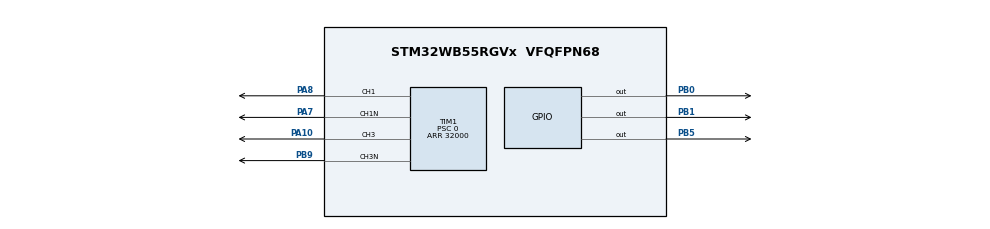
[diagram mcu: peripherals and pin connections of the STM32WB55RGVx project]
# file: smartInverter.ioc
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Mcu.Family=STM32WB
Mcu.Name=STM32WB55RGVx
Mcu.Package=VFQFPN68
NVIC.PriorityGroup=NVIC_PRIORITYGROUP_4
NVIC.TIM1_UP_TIM16_IRQn=true\:0\:0\:false\:false\:true\:true\:true\:true
OSC_IN.Mode=HSE-External-Oscillator
OSC_IN.Signal=RCC_OSC_IN
OSC_OUT.Mode=HSE-External-Oscillator
OSC_OUT.Signal=RCC_OSC_OUT
PA10.Signal=S_TIM1_CH3
PA7.Mode=PWM Generation1 CH1 CH1N
PA7.Signal=TIM1_CH1N
PA8.Signal=S_TIM1_CH1
PB0.Signal=GPIO_Output
PB1.Signal=GPIO_Output
PB5.Signal=GPIO_Output
PB9.Mode=PWM Generation3 CH3 CH3N
PB9.Signal=TIM1_CH3N
PC14-OSC32_IN.Mode=LSE-External-Oscillator
PC14-OSC32_IN.Signal=RCC_OSC32_IN
PC15-OSC32_OUT.Mode=LSE-External-Oscillator
PC15-OSC32_OUT.Signal=RCC_OSC32_OUT
ProjectManager.HeapSize=0x200
ProjectManager.StackSize=0x400
ProjectManager.TargetToolchain=STM32CubeIDE
RCC.ADCFreq_Value=48000000
RCC.AHBFreq_Value=32000000
RCC.APB1Freq_Value=32000000
RCC.APB1TimFreq_Value=32000000
RCC.APB2Freq_Value=32000000
RCC.APB2TimFreq_Value=32000000
RCC.APB3Freq_Value=16000000
RCC.CortexFreq_Value=32000000
RCC.HCLKFreq_Value=32000000
RCC.HSE_VALUE=32000000
RCC.HSI48_VALUE=48000000
RCC.HSI_VALUE=16000000
RCC.MSIClockRange=RCC_MSIRANGE_10
RCC.PLLM=RCC_PLLM_DIV2
RCC.PLLSAI1N=6
RCC.SYSCLKFreq_VALUE=32000000
RCC.USBFreq_Value=48000000
RCC.VCOOutputFreq_Value=128000000
SH.S_TIM1_CH1.0=TIM1_CH1,PWM Generation1 CH1 CH1N
SH.S_TIM1_CH3.0=TIM1_CH3,PWM Generation3 CH3 CH3N
TIM1.AutoReloadPreload=TIM_AUTORELOAD_PRELOAD_ENABLE
TIM1.Channel-Output\ Compare2\ No\ Output=TIM_CHANNEL_2
TIM1.Channel-Output\ Compare4\ No\ Output=TIM_CHANNEL_4
TIM1.Channel-PWM\ Generation1\ CH1\ CH1N=TIM_CHANNEL_1
TIM1.Channel-PWM\ Generation3\ CH3\ CH3N=TIM_CHANNEL_3
TIM1.CounterMode=TIM_COUNTERMODE_UP
TIM1.DeadTime=100
TIM1.OCMode_PWM-PWM\ Generation1\ CH1\ CH1N=TIM_OCMODE_ASSYMETRIC_PWM1
TIM1.OCMode_PWM-PWM\ Generation3\ CH3\ CH3N=TIM_OCMODE_ASSYMETRIC_PWM1
TIM1.Period=32000
TIM1.Prescaler=0
TIM1.Pulse-PWM\ Generation1\ CH1\ CH1N=0
VP_TIM1_VS_ClockSourceINT.Mode=Internal
VP_TIM1_VS_no_output2.Mode=Output Compare2 No Output
VP_TIM1_VS_no_output4.Mode=Output Compare4 No Output
board=custom

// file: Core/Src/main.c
/* USER CODE BEGIN Header */
/**
  ******************************************************************************
  * @file           : main.c
  * @brief          : Main program body
  ******************************************************************************
  * @attention
  *
  * Copyright (c) 2022 STMicroelectronics.
  * All rights reserved.
  *
  * This software is licensed under terms that can be found in the LICENSE file
  * in the root directory of this software component.
  * If no LICENSE file comes with this software, it is provided AS-IS.
  *
  ******************************************************************************
  */
/* USER CODE END Header */
#include "main.h"

/* USER CODE BEGIN Includes */
#include "stdbool.h"
/* USER CODE END Includes */

 TIM_HandleTypeDef htim1;

/* USER CODE BEGIN PV */
bool toggle = true;
int count = 0;
/* USER CODE END PV */

void SystemClock_Config(void);
void PeriphCommonClock_Config(void);
static void MX_GPIO_Init(void);
static void MX_TIM1_Init(void);

/* USER CODE BEGIN 0 */
/*

*/
int sinedata[] = {17000, 18792, 21268, 22342, 24762, 25331, 27312, 27495, 28609, 28672,
				28672, 28609, 27495, 27217, 25331, 24762, 22342, 21268, 18792, 17004,
				14996, 12817, 11288, 8973, 7997, 5886, 5414, 3890, 3766, 3200 , 3200, 3770,
				3957, 5414, 5886, 8155, 8973, 11476, 12817, 14996};
/* USER CODE END 0 */

int main(void)
{

  /* MCU Configuration--------------------------------------------------------*/

  /* Reset of all peripherals, Initializes the Flash interface and the Systick. */
  HAL_Init();

  /* Configure the system clock */
  SystemClock_Config();

/* Configure the peripherals common clocks */
  PeriphCommonClock_Config();

  /* Initialize all configured peripherals */
  MX_GPIO_Init();
  MX_TIM1_Init();
  /* USER CODE BEGIN 2 */
  HAL_TIM_Base_Start_IT(&htim1);
  HAL_TIM_PWM_Start(&htim1,TIM_CHANNEL_1);
  HAL_TIMEx_PWMN_Start(&htim1, TIM_CHANNEL_1);
  //HAL_TIM_OC_Start(&htim1,TIM_CHANNEL_2);
  HAL_TIM_PWM_Start(&htim1,TIM_CHANNEL_3);
  HAL_TIMEx_PWMN_Start(&htim1, TIM_CHANNEL_3);
  /* USER CODE END 2 */

  /* Infinite loop */
  while (1)
  {

  }
}

void SystemClock_Config(void)
{
  RCC_OscInitTypeDef RCC_OscInitStruct = {0};
  RCC_ClkInitTypeDef RCC_ClkInitStruct = {0};

  /** Configure the main internal regulator output voltage
  */
  __HAL_PWR_VOLTAGESCALING_CONFIG(PWR_REGULATOR_VOLTAGE_SCALE1);

  /** Initializes the RCC Oscillators according to the specified parameters
  * in the RCC_OscInitTypeDef structure.
  */
  RCC_OscInitStruct.OscillatorType = RCC_OSCILLATORTYPE_HSI|RCC_OSCILLATORTYPE_HSE
                              |RCC_OSCILLATORTYPE_MSI;
  RCC_OscInitStruct.HSEState = RCC_HSE_ON;
  RCC_OscInitStruct.HSIState = RCC_HSI_ON;
  RCC_OscInitStruct.MSIState = RCC_MSI_ON;
  RCC_OscInitStruct.HSICalibrationValue = RCC_HSICALIBRATION_DEFAULT;
  RCC_OscInitStruct.MSICalibrationValue = RCC_MSICALIBRATION_DEFAULT;
  RCC_OscInitStruct.MSIClockRange = RCC_MSIRANGE_10;
  RCC_OscInitStruct.PLL.PLLState = RCC_PLL_NONE;
  if (HAL_RCC_OscConfig(&RCC_OscInitStruct) != HAL_OK)
  {
    Error_Handler();
  }

  /** Configure the SYSCLKSource, HCLK, PCLK1 and PCLK2 clocks dividers
  */
  RCC_ClkInitStruct.ClockType = RCC_CLOCKTYPE_HCLK4|RCC_CLOCKTYPE_HCLK2
                              |RCC_CLOCKTYPE_HCLK|RCC_CLOCKTYPE_SYSCLK
                              |RCC_CLOCKTYPE_PCLK1|RCC_CLOCKTYPE_PCLK2;
  RCC_ClkInitStruct.SYSCLKSource = RCC_SYSCLKSOURCE_MSI;
  RCC_ClkInitStruct.AHBCLKDivider = RCC_SYSCLK_DIV1;
  RCC_ClkInitStruct.APB1CLKDivider = RCC_HCLK_DIV1;
  RCC_ClkInitStruct.APB2CLKDivider = RCC_HCLK_DIV1;
  RCC_ClkInitStruct.AHBCLK2Divider = RCC_SYSCLK_DIV1;
  RCC_ClkInitStruct.AHBCLK4Divider = RCC_SYSCLK_DIV1;

  if (HAL_RCC_ClockConfig(&RCC_ClkInitStruct, FLASH_LATENCY_1) != HAL_OK)
  {
    Error_Handler();
  }
}

void PeriphCommonClock_Config(void)
{
  RCC_PeriphCLKInitTypeDef PeriphClkInitStruct = {0};

  /** Initializes the peripherals clock
  */
  PeriphClkInitStruct.PeriphClockSelection = RCC_PERIPHCLK_SMPS;
  PeriphClkInitStruct.SmpsClockSelection = RCC_SMPSCLKSOURCE_HSI;
  PeriphClkInitStruct.SmpsDivSelection = RCC_SMPSCLKDIV_RANGE1;

  if (HAL_RCCEx_PeriphCLKConfig(&PeriphClkInitStruct) != HAL_OK)
  {
    Error_Handler();
  }
}

static void MX_TIM1_Init(void)
{

  TIM_ClockConfigTypeDef sClockSourceConfig = {0};
  TIM_MasterConfigTypeDef sMasterConfig = {0};
  TIM_OC_InitTypeDef sConfigOC = {0};
  TIM_BreakDeadTimeConfigTypeDef sBreakDeadTimeConfig = {0};

  htim1.Instance = TIM1;
  htim1.Init.Prescaler = 0;
  htim1.Init.CounterMode = TIM_COUNTERMODE_UP;
  htim1.Init.Period = 32000;
  htim1.Init.ClockDivision = TIM_CLOCKDIVISION_DIV1;
  htim1.Init.RepetitionCounter = 0;
  htim1.Init.AutoReloadPreload = TIM_AUTORELOAD_PRELOAD_ENABLE;
  if (HAL_TIM_Base_Init(&htim1) != HAL_OK)
  {
    Error_Handler();
  }
  sClockSourceConfig.ClockSource = TIM_CLOCKSOURCE_INTERNAL;
  if (HAL_TIM_ConfigClockSource(&htim1, &sClockSourceConfig) != HAL_OK)
  {
    Error_Handler();
  }
  if (HAL_TIM_PWM_Init(&htim1) != HAL_OK)
  {
    Error_Handler();
  }
  if (HAL_TIM_OC_Init(&htim1) != HAL_OK)
  {
    Error_Handler();
  }
  sMasterConfig.MasterOutputTrigger = TIM_TRGO_RESET;
  sMasterConfig.MasterOutputTrigger2 = TIM_TRGO2_RESET;
  sMasterConfig.MasterSlaveMode = TIM_MASTERSLAVEMODE_DISABLE;
  if (HAL_TIMEx_MasterConfigSynchronization(&htim1, &sMasterConfig) != HAL_OK)
  {
    Error_Handler();
  }
  sConfigOC.OCMode = TIM_OCMODE_ASSYMETRIC_PWM1;
  sConfigOC.Pulse = 0;
  sConfigOC.OCPolarity = TIM_OCPOLARITY_HIGH;
  sConfigOC.OCNPolarity = TIM_OCNPOLARITY_HIGH;
  sConfigOC.OCFastMode = TIM_OCFAST_DISABLE;
  sConfigOC.OCIdleState = TIM_OCIDLESTATE_RESET;
  sConfigOC.OCNIdleState = TIM_OCNIDLESTATE_RESET;
  if (HAL_TIM_PWM_ConfigChannel(&htim1, &sConfigOC, TIM_CHANNEL_1) != HAL_OK)
  {
    Error_Handler();
  }
  sConfigOC.OCMode = TIM_OCMODE_TIMING;
  if (HAL_TIM_OC_ConfigChannel(&htim1, &sConfigOC, TIM_CHANNEL_2) != HAL_OK)
  {
    Error_Handler();
  }
  sConfigOC.OCMode = TIM_OCMODE_ASSYMETRIC_PWM1;
  if (HAL_TIM_PWM_ConfigChannel(&htim1, &sConfigOC, TIM_CHANNEL_3) != HAL_OK)
  {
    Error_Handler();
  }
  sConfigOC.OCMode = TIM_OCMODE_TIMING;
  if (HAL_TIM_OC_ConfigChannel(&htim1, &sConfigOC, TIM_CHANNEL_4) != HAL_OK)
  {
    Error_Handler();
  }
  sBreakDeadTimeConfig.OffStateRunMode = TIM_OSSR_DISABLE;
  sBreakDeadTimeConfig.OffStateIDLEMode = TIM_OSSI_DISABLE;
  sBreakDeadTimeConfig.LockLevel = TIM_LOCKLEVEL_OFF;
  sBreakDeadTimeConfig.DeadTime = 100;
  sBreakDeadTimeConfig.BreakState = TIM_BREAK_DISABLE;
  sBreakDeadTimeConfig.BreakPolarity = TIM_BREAKPOLARITY_HIGH;
  sBreakDeadTimeConfig.BreakFilter = 0;
  sBreakDeadTimeConfig.BreakAFMode = TIM_BREAK_AFMODE_INPUT;
  sBreakDeadTimeConfig.Break2State = TIM_BREAK2_DISABLE;
  sBreakDeadTimeConfig.Break2Polarity = TIM_BREAK2POLARITY_HIGH;
  sBreakDeadTimeConfig.Break2Filter = 0;
  sBreakDeadTimeConfig.Break2AFMode = TIM_BREAK_AFMODE_INPUT;
  sBreakDeadTimeConfig.AutomaticOutput = TIM_AUTOMATICOUTPUT_DISABLE;
  if (HAL_TIMEx_ConfigBreakDeadTime(&htim1, &sBreakDeadTimeConfig) != HAL_OK)
  {
    Error_Handler();
  }
  /* USER CODE BEGIN TIM1_Init 2 */
 /* __HAL_TIM_SET_COMPARE(&htim1, TIM_CHANNEL_1, sinedata[count]);
  count++;
  __HAL_TIM_SET_COMPARE(&htim1, TIM_CHANNEL_2, sinedata[count]);
  count++;
*/
  /* USER CODE END TIM1_Init 2 */
  HAL_TIM_MspPostInit(&htim1);

}

static void MX_GPIO_Init(void)
{
  GPIO_InitTypeDef GPIO_InitStruct = {0};

  /* GPIO Ports Clock Enable */
  __HAL_RCC_GPIOC_CLK_ENABLE();
  __HAL_RCC_GPIOB_CLK_ENABLE();
  __HAL_RCC_GPIOA_CLK_ENABLE();

  /*Configure GPIO pin Output Level */
  HAL_GPIO_WritePin(GPIOB, GPIO_PIN_0|GPIO_PIN_1|GPIO_PIN_5, GPIO_PIN_RESET);

  /*Configure GPIO pins : PB0 PB1 PB5 */
  GPIO_InitStruct.Pin = GPIO_PIN_0|GPIO_PIN_1|GPIO_PIN_5;
  GPIO_InitStruct.Mode = GPIO_MODE_OUTPUT_PP;
  GPIO_InitStruct.Pull = GPIO_NOPULL;
  GPIO_InitStruct.Speed = GPIO_SPEED_FREQ_LOW;
  HAL_GPIO_Init(GPIOB, &GPIO_InitStruct);

}

/* USER CODE BEGIN 4 */
//Callback; timer has reset
void HAL_TIM_PeriodElapsedCallback(TIM_HandleTypeDef *htim)
{
	if(htim == &htim1)
	{
		HAL_GPIO_TogglePin(GPIOB, GPIO_PIN_1);
		__HAL_TIM_SET_COMPARE(&htim1, TIM_CHANNEL_1, sinedata[count]);
		__HAL_TIM_SET_COMPARE(&htim1, TIM_CHANNEL_3, sinedata[39-count]);
		count++;
		__HAL_TIM_SET_COMPARE(&htim1, TIM_CHANNEL_2, sinedata[count]);
		__HAL_TIM_SET_COMPARE(&htim1, TIM_CHANNEL_4, sinedata[39-count]);
		count++;
		//HAL_GPIO_TogglePin(GPIOB, GPIO_PIN_5);
		if(count == 40)
		{
			count = 0;
		}
	}
	/*else if(htim == &htim2)
	{
		if(count == 399)
		{
			count = 0;
		else
		{
			count++;
		}

		//HAL_GPIO_TogglePin(GPIOB, GPIO_PIN_5);
		//__HAL_TIM_SET_COMPARE(&htim1, TIM_CHANNEL_1, 0);
		//toggle = !toggle;

	}*/

}

/* USER CODE END 4 */

void Error_Handler(void)
{
  __disable_irq();
  while (1)
  {
  }
}
